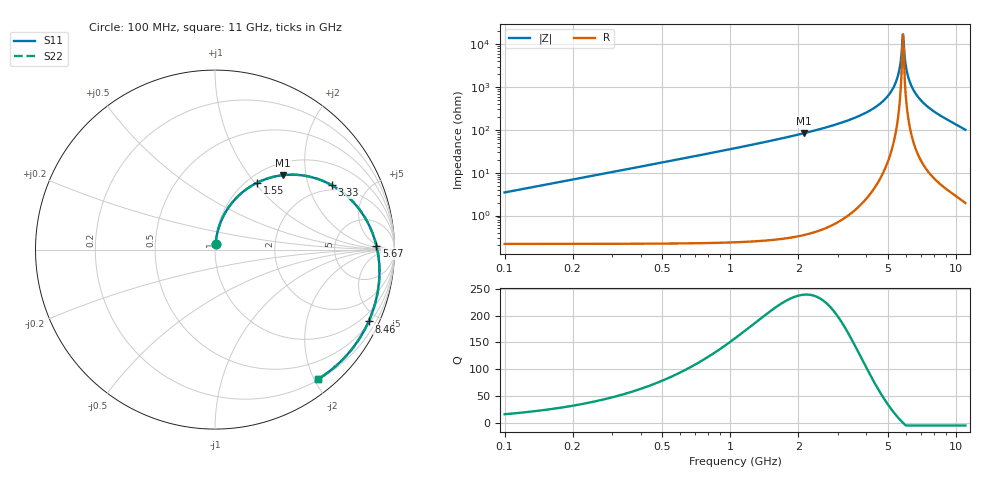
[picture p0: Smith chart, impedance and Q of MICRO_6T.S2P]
! Coilcraft 1606-6 Micro Spring Air Core Inductor
! 16 May 2003
# MHZ S MA R 50
!Freq  MagS11  AngS11  MagS21  AngS21  MagS12  AngS12  MagS22  AngS22
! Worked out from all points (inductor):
!   1091 points, 100 MHz to 11 GHz, reference 50 ohm
!   read as 1/Y11, port 2 shorted: L = 5.5 nH near 150 MHz
!   highest Q = 239 at 2.12 GHz (marker M1), where L = 6.29 nH
!   self-resonance near 5.81 GHz
!   S11 on the Smith chart (normalised r, x): 100 MHz: 1.00, +0.06; 1.55 GHz: 1.11, +1.03; 3.33 GHz: 1.79, +2.87; 5.67 GHz: 18, +4; 8.46 GHz: 0.59, -4.42; 11 GHz: 0.21, -2.06
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100  0.03127 83.9  0.9973 -2.2  0.9973 -2.2  0.0313 83.9
210  0.06545 83.6  0.9957 -4.5  0.9957 -4.5  0.06551 83.6
290  0.0902 82.4  0.9938 -6.3  0.9938 -6.3  0.09028 82.4
410  0.1271 80.2  0.9897 -8.8  0.9897 -8.8  0.1272 80.2
560  0.1725 77.3  0.9829 -12.0  0.9829 -12.0  0.1727 77.3
750  0.2287 73.4  0.9714 -16.0  0.9714 -16.0  0.2289 73.4
980  0.2941 68.8  0.9536 -20.8  0.9536 -20.8  0.2944 68.8
1550  0.4409 57.7  0.8954 -32.0  0.8954 -32.0  0.4413 57.7
1920  0.5229 51.0  0.8501 -38.8  0.8501 -38.8  0.5234 51.0
2120  0.5628 47.5  0.8243 -42.3  0.8243 -42.3  0.5633 47.5
2680  0.6584 38.3  0.75 -51.4  0.75 -51.4  0.659 38.3
3330  0.7434 28.8  0.6654 -61.0  0.6654 -61.0  0.744 28.8
3740  0.7851 23.3  0.615 -66.4  0.615 -66.4  0.7858 23.3
4610  0.8503 12.7  0.5193 -76.8  0.5193 -76.8  0.8511 12.7
5550  0.8952 2.6  0.4342 -86.7  0.4342 -86.7  0.896 2.6
5670  0.8995 1.4  0.4247 -87.9  0.4247 -87.9  0.9003 1.4
6490  0.9224 -6.7  0.3683 -95.7  0.3683 -95.7  0.9232 -6.7
7370  0.937 -15.0  0.3237 -103.5  0.3237 -103.5  0.9378 -15.0
8460  0.9449 -25.1  0.292 -113.0  0.292 -113.0  0.9456 -25.1
9190  0.9448 -32.0  0.2864 -119.6  0.2864 -119.6  0.9455 -32.0
10080  0.9385 -41.0  0.2995 -128.3  0.2995 -128.3  0.9392 -41.0
11000  0.9219 -51.3  0.3407 -138.6  0.3407 -138.6  0.9225 -51.3
